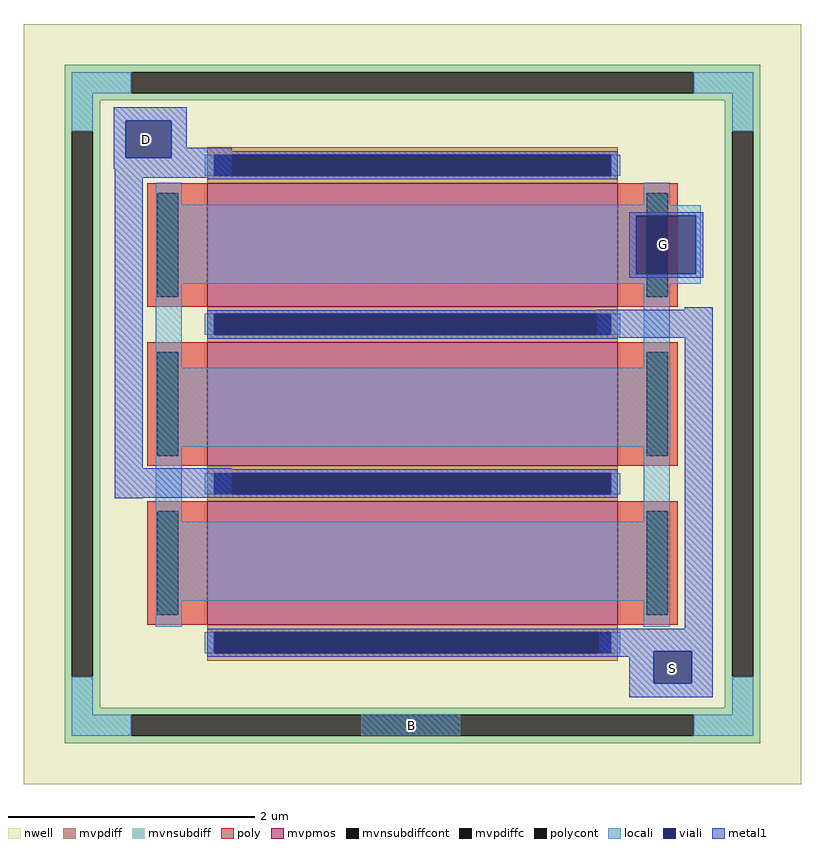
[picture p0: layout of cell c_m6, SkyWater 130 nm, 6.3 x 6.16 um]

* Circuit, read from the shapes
.subckt c_m6 D G S B
XM1 D G S B sky130_fd_pr__pfet_g5v0d10v5 w=3.33 l=1 m=3
.ends

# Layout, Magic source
magic
tech sky130A
magscale 1 2
<< locali >>
rect 131 852 173 888
rect 922 852 964 888
rect 131 851 964 852
rect 131 834 1014 851
rect 131 740 910 834
rect 1006 740 1014 834
rect 131 724 1014 740
rect 131 588 173 724
rect 922 588 964 724
rect 131 460 965 588
rect 131 338 173 460
rect 922 338 964 460
rect 131 210 964 338
rect 131 168 173 210
rect 922 168 964 210
rect 464 -8 624 26
<< viali >>
rect 82 928 156 988
rect 910 740 1006 834
rect 938 76 1000 128
<< metal1 >>
rect 63 988 181 1010
rect 63 928 82 988
rect 156 944 181 988
rect 156 928 254 944
rect 63 910 254 928
rect 64 896 254 910
rect 64 425 110 896
rect 898 834 1018 840
rect 898 740 910 834
rect 1006 740 1018 834
rect 898 734 1018 740
rect 988 682 1034 686
rect 846 636 1034 682
rect 64 377 254 425
rect 64 376 110 377
rect 988 165 1034 636
rect 850 128 1034 165
rect 850 119 938 128
rect 898 76 938 119
rect 1000 76 1034 128
rect 898 54 1034 76
use sky130_fd_pr__pfet_g5v0d10v5_E5YWRV  sky130_fd_pr__pfet_g5v0d10v5_E5YWRV_0
transform 0 1 547 -1 0 529
box -616 -630 616 630
<< labels >>
flabel viali 116 958 116 958 0 FreeSans 800 0 0 0 D
port 0 nsew
flabel viali 954 788 954 788 0 FreeSans 800 0 0 0 G
port 1 nsew
flabel viali 968 100 968 100 0 FreeSans 800 0 0 0 S
port 2 nsew
flabel locali 546 8 546 8 0 FreeSans 800 0 0 0 B
port 3 nsew
<< end >>

# cell sky130_fd_pr__pfet_g5v0d10v5_E5YWRV: kit device sky130_fd_pr__pfet_g5v0d10v5, w 3.33 l 1 m 1 nf 3 diffcov 100 polycov 100 guard 1 glc 1 grc 1 gtc 1 gbc 1 tbcov 100 rlcov 100 topc 1 botc 1 poverlap 0 doverlap 1 lmin 0.50 wmin 0.42 class mosfet compatible {sky130_fd_pr__pfet_01v8 sky130_fd_pr__pfet_01v8_lvt sky130_fd_pr__pfet_01v8_hvt sky130_fd_pr__pfet_g5v0d10v5} full_metal 1 conn_gates 0 viasrc 100 viadrn 100 viagate 100 viagb 0 viagr 0 viagl 0 viagt 0 doports 1
